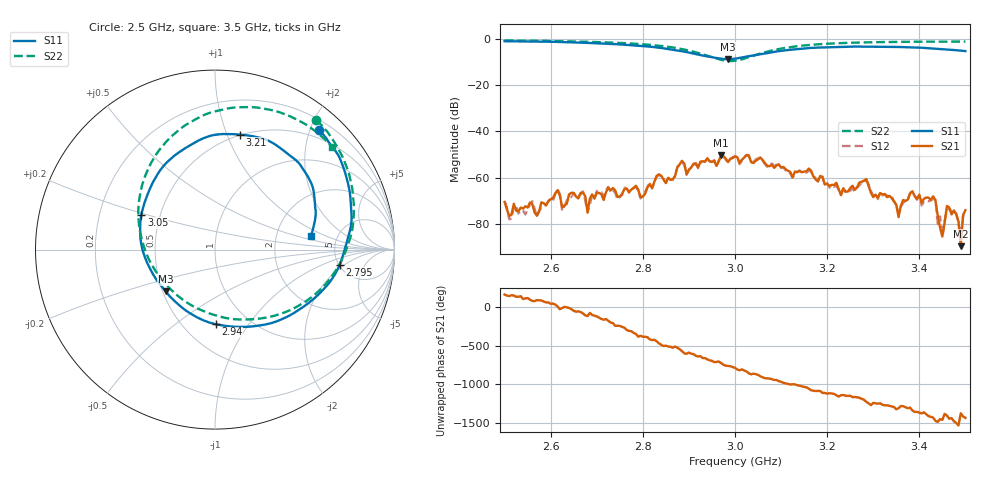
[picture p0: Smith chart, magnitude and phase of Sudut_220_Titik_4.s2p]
# Hz S RI R 50
! CMT, C1220, 16058040, 17.2.0/1
! Date: 15/08/2018 10:34:32
! Data: Format (Calibration Info)
! Freq  S11: Re/Im (F2)  S21: Re/Im (F2)  S12: Re/Im (F2)  S22: Re/Im (F2)
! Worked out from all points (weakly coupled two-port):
!   201 points, 2.5 GHz to 3.5 GHz, reference 50 ohm
!   highest |S21| = -50.24 dB at 2.97 GHz (marker M1); lowest = -89.7 dB at 3.49 GHz (marker M2)
!   lowest |S11| = -8.9 dB at 2.985 GHz (marker M3), VSWR 2.13, Z = 25.9 - j13.9 ohm
!   |S11| at or under -10 dB: nowhere
!   |S22| runs from -9.6 to -0.7 dB; largest |S21 - S12| = 0.00022
!   S11 on the Smith chart (normalised r, x): 2.5 GHz: 0.35, +2.15; 2.795 GHz: 5.10, -1.68; 2.94 GHz: 0.71, -0.71; 3.05 GHz: 0.39, +0.19; 3.21 GHz: 0.50, +1.11; 3.5 GHz: 3.18, +0.70
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2.5e9  0.5796 0.6665  -0.000279 9.93e-05  -0.000281 0.000134  0.5653 0.7224
2.51e9  0.5948 0.65  -0.000115 9.17e-05  -0.000114 5.05e-05  0.5764 0.7118
2.56e9  0.6514 0.574  5.72e-05 0.000263  8.24e-05 0.000298  0.6322 0.6477
2.57e9  0.6657 0.5563  4.06e-06 0.000149  -6.83e-06 0.000142  0.6428 0.6324
2.615e9  0.7099 0.4733  0.000531 5.22e-05  0.000551 4.23e-05  0.688 0.5598
2.67e9  0.7482 0.3355  5.04e-05 -0.00047  -1.49e-05 -0.000504  0.7365 0.452
2.68e9  0.7526 0.3068  -8.5e-05 -0.000156  -5.74e-05 -0.000164  0.7445 0.43
2.725e9  0.7613 0.1786  -0.000606 -8.39e-06  -0.000626 5.44e-05  0.7671 0.3171
2.795e9  0.6951 -0.0841  0.000364 -8.79e-05  0.000326 -0.000135  0.7604 0.0918
2.835e9  0.5993 -0.2269  -0.000433 -0.00109  -0.000356 -0.00107  0.7024 -0.0644
2.94e9  0.00326 -0.4158  0.00199 0.00171  0.00195 0.00178  0.1772 -0.3894
2.97e9  -0.1934 -0.3151  0.00305 -0.000415  0.00298 -0.000578  -0.06 -0.3439
2.985e9  -0.275 -0.2332  0.00154 -0.00151  0.00152 -0.00148  -0.1733 -0.2837
3e9  -0.3431 -0.1409  0.00102 -0.0027  0.000839 -0.00277  -0.2697 -0.1981
3.05e9  -0.4105 0.1926  -0.00232 -0.000853  -0.00248 -0.00086  -0.4267 0.1756
3.17e9  -0.0119 0.6373  0.00106 -9.54e-05  0.00111 -9.37e-06  -0.0793 0.7412
3.21e9  0.1402 0.6406  0.00053 -0.000453  0.000521 -0.000501  0.0667 0.7853
3.335e9  0.4665 0.4828  -0.000378 0.00014  -0.000348 0.000151  0.4032 0.749
3.355e9  0.4973 0.4389  -8.76e-05 0.000109  -8.19e-05 0.000143  0.4413 0.7317
3.385e9  0.536 0.3702  -8.4e-05 0.000497  -0.00012 0.000471  0.4962 0.7031
3.49e9  0.5432 0.104  1.5e-05 2.92e-05  -4.32e-05 3.18e-05  0.6401 0.5851
3.5e9  0.5348 0.0776  0.000196 1.12e-05  0.000165 2.19e-06  0.6513 0.5738
